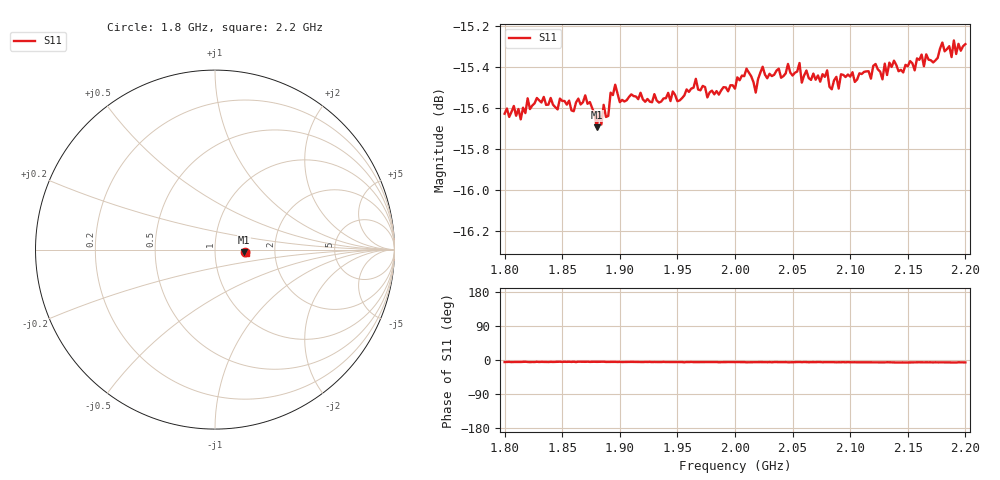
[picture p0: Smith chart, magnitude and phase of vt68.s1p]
!1-port S-parameter file
# HZ S RI R 50
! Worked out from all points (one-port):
!   201 points, 1.8 GHz to 2.2 GHz, reference 50 ohm
!   lowest |S11| = -15.7 dB at 1.88 GHz (marker M1), VSWR 1.39, Z = 69.5 - j2.02 ohm
!   |S11| at or under -10 dB: start of sweep to end of sweep
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1.8e9  0.1647 -0.0156
1.85e9  0.166 -0.0149
1.86e9  0.1651 -0.0133
1.87e9  0.1665 -0.0141
1.88e9  0.1636 -0.0141
1.882e9  0.165 -0.0138
1.884e9  0.1638 -0.0139
1.886e9  0.1657 -0.0131
1.89e9  0.1646 -0.0145
1.892e9  0.1668 -0.0142
1.896e9  0.1675 -0.0146
1.9e9  0.1659 -0.0145
1.95e9  0.1658 -0.016
1.966e9  0.1679 -0.0164
1.976e9  0.1662 -0.0158
2e9  0.167 -0.0164
2.01e9  0.1687 -0.0179
2.018e9  0.1666 -0.0162
2.024e9  0.169 -0.0168
2.05e9  0.1681 -0.0172
2.056e9  0.1695 -0.0156
2.058e9  0.1675 -0.0171
2.08e9  0.1686 -0.0172
2.084e9  0.1669 -0.0165
2.1e9  0.168 -0.0176
2.15e9  0.1688 -0.0194
2.18e9  0.1711 -0.0186
2.2e9  0.1709 -0.0192
